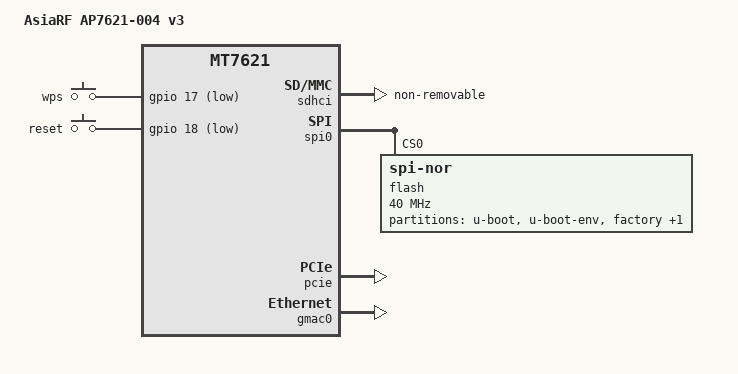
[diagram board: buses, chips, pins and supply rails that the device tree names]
// SPDX-License-Identifier: GPL-2.0-or-later OR MIT

#include "mt7621.dtsi"

#include <dt-bindings/gpio/gpio.h>
#include <dt-bindings/input/input.h>
/ {
	compatible = "asiarf,ap7621-004-v3", "mediatek,mt7621-soc";
	model = "AsiaRF AP7621-004 v3";

	keys {
		compatible = "gpio-keys";

		wps {
			label = "wps";
			gpios = <&gpio 17 GPIO_ACTIVE_LOW>;
			linux,code = <KEY_WPS_BUTTON>;
		};

		reset {
			label = "reset";
			gpios = <&gpio 18 GPIO_ACTIVE_LOW>;
			linux,code = <KEY_RESTART>;
		};
	};
};

&sdhci {
	status = "okay";
	non-removable;
};

&spi0 {
	status = "okay";

	flash@0 {
		compatible = "jedec,spi-nor";
		reg = <0>;
		spi-max-frequency = <40000000>;

		partitions {
			compatible = "fixed-partitions";
			#address-cells = <1>;
			#size-cells = <1>;

			partition@0 {
				label = "u-boot";
				reg = <0x0 0x30000>;
				read-only;
			};

			partition@30000 {
				label = "u-boot-env";
				reg = <0x30000 0x10000>;
			};

			partition@40000 {
				label = "factory";
				reg = <0x40000 0x10000>;
				read-only;

				nvmem-layout {
					compatible = "fixed-layout";
					#address-cells = <1>;
					#size-cells = <1>;

					macaddr_factory_e000: macaddr@e000 {
						reg = <0xe000 0x6>;
					};

					macaddr_factory_e006: macaddr@e006 {
						reg = <0xe006 0x6>;
					};
				};
			};

			partition@50000 {
				label = "firmware";
				reg = <0x50000 0xfb0000>;
				compatible = "denx,uimage";
			};
		};
	};
};

&pcie {
	status = "okay";
};

&ethernet {
	pinctrl-0 = <&mdio_pins>, <&rgmii1_pins>;
};

&gmac0 {
	status = "okay";

	nvmem-cell-names = "mac-address";
	nvmem-cells = <&macaddr_factory_e000>;
};

&switch0 {
	ports {
		port@0 {
			status = "okay";
			label = "wan";
			nvmem-cell-names = "mac-address";
			nvmem-cells = <&macaddr_factory_e006>;
		};

		port@1 {
			status = "okay";
			label = "lan1";
		};

		port@2 {
			status = "okay";
			label = "lan2";
		};

		port@3 {
			status = "okay";
			label = "lan3";
		};

		port@4 {
			status = "okay";
			label = "lan4";
		};
	};

};

&state_default {
	gpio {
		groups = "wdt", "jtag";
		function = "gpio";
	};
};
